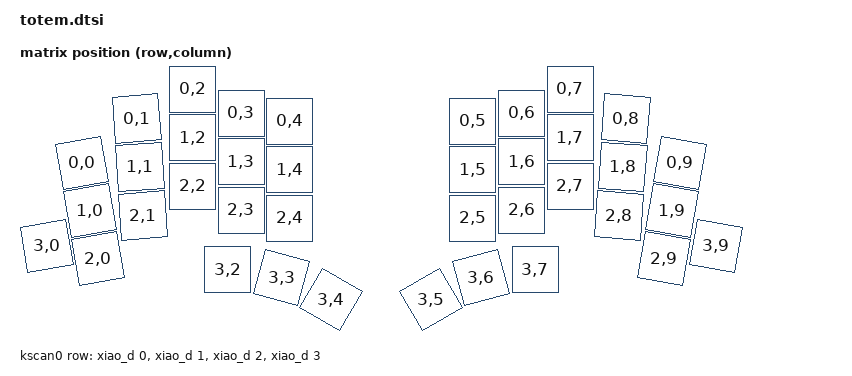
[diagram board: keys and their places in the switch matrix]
/*
 * Copyright (c) 2022 The ZMK Contributors
 *
 * SPDX-License-Identifier: MIT
 */

#include <dt-bindings/zmk/matrix_transform.h>
#include <physical_layouts.dtsi>

/ {
    chosen {
        zmk,kscan = &kscan0;
        zmk,physical-layout = &totem_physical_layout;
    };

    default_transform: keymap_transform_0 {
        compatible = "zmk,matrix-transform";
        columns = <10>;
        rows = <4>;
//             | SW01  | SW02  | SW03  | SW04  | SW05  |  | SW05  | SW04  | SW03  | SW02  | SW01  |
//             | SW06  | SW07  | SW08  | SW09  | SW10  |  | SW10  | SW09  | SW08  | SW07  | SW06  |
//      | SW16 | SW11  | SW12  | SW13  | SW14  | SW15  |  | SW15  | SW14  | SW13  | SW12  | SW11  | SW16  |
//                             | SW17  | SW18  | SW19  |  | SW19  | SW18  | SW17  |
        map = <
                RC(0,0) RC(0,1) RC(0,2) RC(0,3) RC(0,4)    RC(0,5) RC(0,6) RC(0,7) RC(0,8) RC(0,9)
                RC(1,0) RC(1,1) RC(1,2) RC(1,3) RC(1,4)    RC(1,5) RC(1,6) RC(1,7) RC(1,8) RC(1,9)
        RC(3,0) RC(2,0) RC(2,1) RC(2,2) RC(2,3) RC(2,4)    RC(2,5) RC(2,6) RC(2,7) RC(2,8) RC(2,9) RC(3,9)
                                RC(3,2) RC(3,3) RC(3,4)    RC(3,5) RC(3,6) RC(3,7)
        >;
    };

    kscan0: kscan_0 {
        compatible = "zmk,kscan-gpio-matrix";
        label = "KSCAN";

        diode-direction = "col2row";
        row-gpios
            = <&xiao_d 0 (GPIO_ACTIVE_HIGH | GPIO_PULL_DOWN)>
            , <&xiao_d 1 (GPIO_ACTIVE_HIGH | GPIO_PULL_DOWN)>
            , <&xiao_d 2 (GPIO_ACTIVE_HIGH | GPIO_PULL_DOWN)>
            , <&xiao_d 3 (GPIO_ACTIVE_HIGH | GPIO_PULL_DOWN)>
            ;
    };

    totem_physical_layout: totem_physical_layout {
        compatible = "zmk,physical-layout";
        display-name = "TOTEM";
        transform = <&default_transform>;
        kscan = <&kscan0>;

        keys  //                     w   h    x    y     rot    rx    ry
            = <&key_physical_attrs 100 100   71  148 (-1000)   121   198>
            , <&key_physical_attrs 100 100  180   59  (-400)   230   109>
            , <&key_physical_attrs 100 100  292    0       0     0     0>
            , <&key_physical_attrs 100 100  389   48       0     0     0>
            , <&key_physical_attrs 100 100  486   64       0     0     0>
            , <&key_physical_attrs 100 100  852   64       0     0     0>
            , <&key_physical_attrs 100 100  950   48       0     0     0>
            , <&key_physical_attrs 100 100 1047    0       0     0     0>
            , <&key_physical_attrs 100 100 1158   59     400  1208   109>
            , <&key_physical_attrs 100 100 1267  148    1000  1317   198>
            , <&key_physical_attrs 100 100   87  243 (-1000)   137   293>
            , <&key_physical_attrs 100 100  187  156  (-400)   237   206>
            , <&key_physical_attrs 100 100  292   97       0     0     0>
            , <&key_physical_attrs 100 100  389  145       0     0     0>
            , <&key_physical_attrs 100 100  486  161       0     0     0>
            , <&key_physical_attrs 100 100  852  161       0     0     0>
            , <&key_physical_attrs 100 100  950  145       0     0     0>
            , <&key_physical_attrs 100 100 1047   97       0     0     0>
            , <&key_physical_attrs 100 100 1152  156     400  1202   206>
            , <&key_physical_attrs 100 100 1251  243    1000  1301   293>
            , <&key_physical_attrs 100 100    0  314 (-1000)    50   364>
            , <&key_physical_attrs 100 100  103  339 (-1000)   153   389>
            , <&key_physical_attrs 100 100  193  253  (-400)   243   303>
            , <&key_physical_attrs 100 100  292  194       0     0     0>
            , <&key_physical_attrs 100 100  389  242       0     0     0>
            , <&key_physical_attrs 100 100  486  258       0     0     0>
            , <&key_physical_attrs 100 100  852  258       0     0     0>
            , <&key_physical_attrs 100 100  950  242       0     0     0>
            , <&key_physical_attrs 100 100 1047  194       0     0     0>
            , <&key_physical_attrs 100 100 1145  253     400  1195   303>
            , <&key_physical_attrs 100 100 1235  339    1000  1285   389>
            , <&key_physical_attrs 100 100 1339  314    1000  1389   364>
            , <&key_physical_attrs 100 100  362  361       0     0     0>
            , <&key_physical_attrs 100 100  470  377    1500   520   427>
            , <&key_physical_attrs 100 100  569  421    3000   619   471>
            , <&key_physical_attrs 100 100  769  421 (-3000)   819   471>
            , <&key_physical_attrs 100 100  869  377 (-1500)   919   427>
            , <&key_physical_attrs 100 100  977  361       0     0     0>
            ;
    };
};
